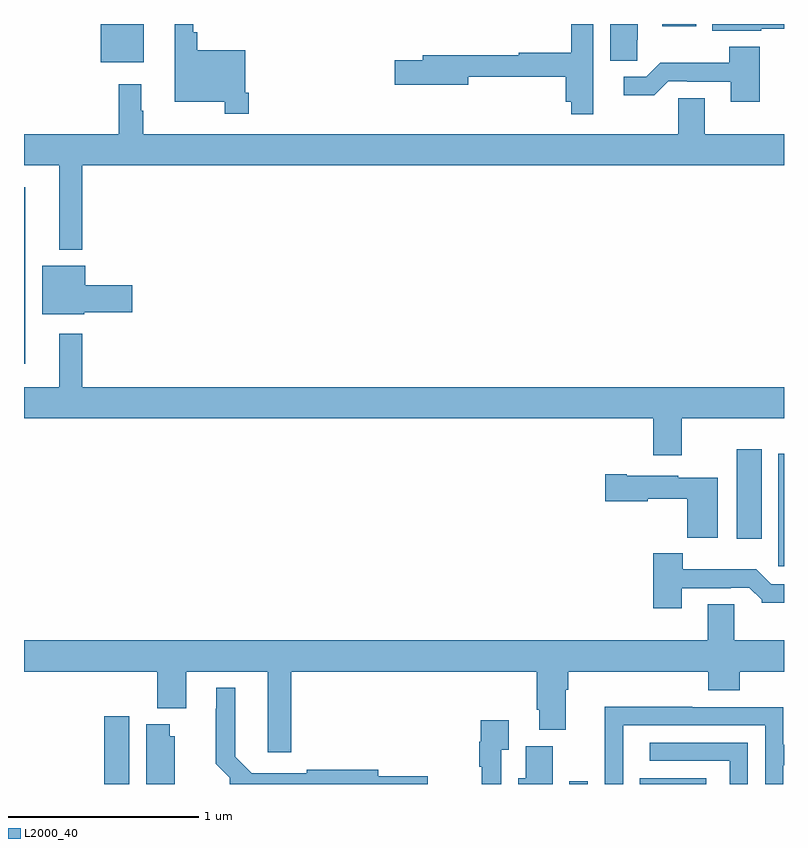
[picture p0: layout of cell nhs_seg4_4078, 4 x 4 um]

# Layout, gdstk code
import gdstk
lib = gdstk.Library(unit=1e-6, precision=1e-09)
def R(c, l, rs):  # rectangles x0, y0, x1, y1
    for r in rs: c.add(gdstk.rectangle(r[:2], r[2:], *l))
def P(c, l, *ps):  # polygons
    for p in ps: c.add(gdstk.Polygon(p, *l))
L2000_40 = (2000, 40)

nhs_seg4_4078 = lib.new_cell('nhs_seg4_4078')
R(nhs_seg4_4078, L2000_40, [(327.422,790.9,327.553,791.257), (329.871,790.9,329.967,790.915), (330.242,790.9,330.592,790.93), (330.971,792.045,331,792.637), (330.752,792.192,330.883,792.661), (327,793.113,327.007,794.041), (327.404,794.699,327.631,794.9), (330.36,794.888,330.537,794.9)])
P(nhs_seg4_4078, L2000_40, [(330.88,794.875),(331,794.875),(331,794.9),(330.622,794.9),(330.622,794.864),(330.88,794.864)],
  [(329.997,794.9),(329.881,794.9),(329.881,794.75),(329.604,794.75),(329.604,794.735),(329.099,794.735),(329.099,794.709),(328.95,794.709),(328.95,794.579),(329.338,794.579),(329.338,794.622),(329.852,794.622),(329.852,794.492),(329.881,794.492),(329.881,794.424),(329.997,794.424)],
  [(330.228,794.818),(330.229,794.818),(330.229,794.9),(330.086,794.9),(330.086,794.707),(330.228,794.707)],
  [(328.184,794.539),(328.164,794.539),(328.164,794.761),(327.911,794.761),(327.911,794.857),(327.891,794.857),(327.891,794.9),(327.794,794.9),(327.794,794.492),(328.056,794.492),(328.056,794.427),(328.184,794.427)],
  [(330.872,794.779),(330.712,794.779),(330.712,794.695),(330.349,794.695),(330.276,794.622),(330.156,794.622),(330.156,794.525),(330.317,794.525),(330.39,794.598),(330.49,794.598),(330.49,794.595),(330.719,794.595),(330.719,794.49),(330.872,794.49)],
  [(327.307,794.156),(331,794.156),(331,794.32),(330.583,794.32),(330.583,794.51),(330.444,794.51),(330.444,794.32),(327.628,794.32),(327.628,794.444),(327.616,794.444),(327.616,794.584),(327.499,794.584),(327.499,794.32),(327,794.32),(327,794.156),(327.185,794.156),(327.185,793.712),(327.307,793.712)],
  [(327.318,793.384),(327.571,793.384),(327.571,793.526),(327.322,793.526),(327.322,793.627),(327.095,793.627),(327.095,793.373),(327.318,793.373)],
  [(330.463,792.824),(331,792.824),(331,792.988),(327.307,792.988),(327.307,793.27),(327.185,793.27),(327.185,792.988),(327,792.988),(327,792.824),(330.311,792.824),(330.311,792.63),(330.463,792.63)],
  [(330.652,792.511),(330.444,792.511),(330.444,792.523),(330.172,792.523),(330.172,792.531),(330.06,792.531),(330.06,792.389),(330.282,792.389),(330.282,792.401),(330.49,792.401),(330.49,792.197),(330.652,792.197)],
  [(330.463,791.931),(330.719,791.931),(330.719,791.934),(330.818,791.934),(330.882,791.87),(330.882,791.855),(331,791.855),(331,791.952),(330.933,791.952),(330.855,792.031),(330.466,792.031),(330.466,792.115),(330.311,792.115),(330.311,791.826),(330.463,791.826)],
  [(328.406,791.492),(329.699,791.492),(329.699,791.29),(329.711,791.29),(329.711,791.185),(329.851,791.185),(329.851,791.396),(329.864,791.396),(329.864,791.492),(330.602,791.492),(330.602,791.393),(330.767,791.393),(330.767,791.492),(331,791.492),(331,791.656),(330.739,791.656),(330.739,791.846),(330.599,791.846),(330.599,791.656),(327,791.656),(327,791.492),(327.701,791.492),(327.701,791.3),(327.853,791.3),(327.853,791.492),(328.283,791.492),(328.283,791.067),(328.406,791.067)],
  [(329.125,790.94),(328.864,790.94),(328.864,790.976),(328.489,790.976),(328.489,790.956),(328.198,790.956),(328.111,791.044),(328.111,791.407),(328.013,791.407),(328.013,791.297),(328.009,791.297),(328.009,791.006),(328.083,790.932),(328.083,790.9),(329.125,790.9)],
  [(330.153,791.208),(330.9,791.208),(330.9,790.9),(330.997,790.9),(330.997,790.998),(331,790.998),(331,791.106),(330.996,791.106),(330.996,791.304),(330.518,791.304),(330.518,791.306),(330.056,791.306),(330.056,791.002),(330.057,791.002),(330.057,790.9),(330.153,790.9)],
  [(329.511,791.08),(329.551,791.08),(329.551,791.236),(329.403,791.236),(329.403,791.123),(329.395,791.123),(329.395,790.991),(329.41,790.991),(329.41,790.9),(329.511,790.9)],
  [(327.793,791.151),(327.766,791.151),(327.766,791.215),(327.644,791.215),(327.644,790.9),(327.793,790.9)],
  [(330.81,791.118),(330.294,791.118),(330.294,791.022),(330.714,791.022),(330.714,790.9),(330.81,790.9)],
  [(329.782,791.1),(329.642,791.1),(329.642,790.93),(329.6,790.93),(329.6,790.9),(329.782,790.9)])

lib.write_gds('nhs_seg4_4078.gds')
